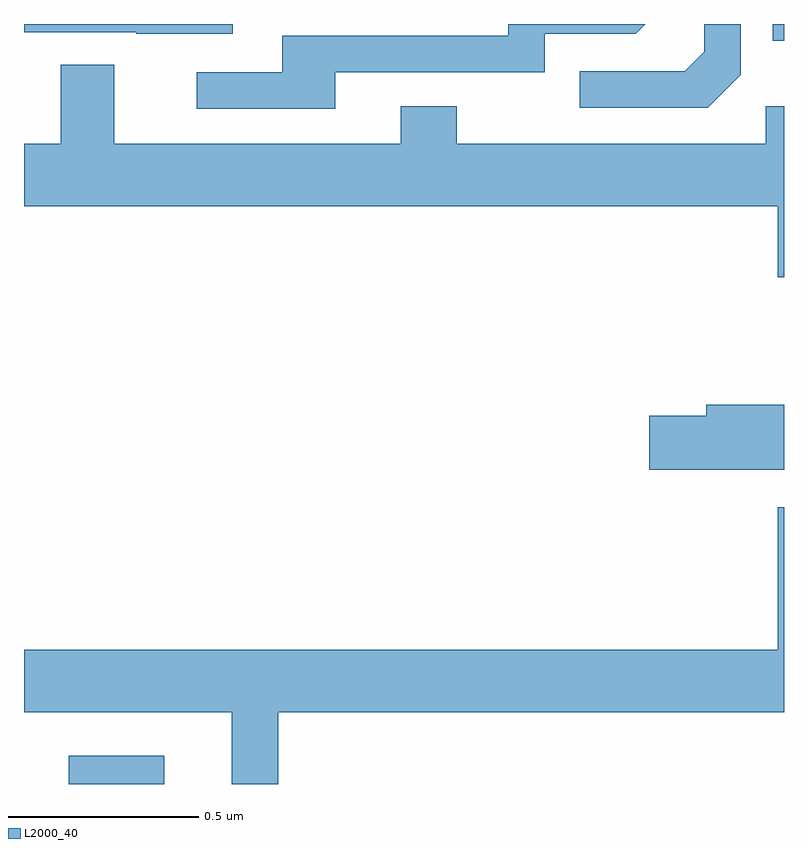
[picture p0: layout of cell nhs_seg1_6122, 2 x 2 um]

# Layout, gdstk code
import gdstk
lib = gdstk.Library(unit=1e-6, precision=1e-09)
def R(c, l, rs):  # rectangles x0, y0, x1, y1
    for r in rs: c.add(gdstk.rectangle(r[:2], r[2:], *l))
def P(c, l, *ps):  # polygons
    for p in ps: c.add(gdstk.Polygon(p, *l))
L2000_40 = (2000, 40)

nhs_seg1_6122 = lib.new_cell('nhs_seg1_6122')
R(nhs_seg1_6122, L2000_40, [(187.118,562.199,187.369,562.273), (188.971,564.155,189,564.199)])
P(nhs_seg1_6122, L2000_40, [(187.819,564.072),(188.37,564.072),(188.37,564.174),(188.61,564.174),(188.635,564.199),(188.274,564.199),(188.274,564.168),(187.679,564.168),(187.679,564.072),(187.455,564.072),(187.455,563.976),(187.819,563.976)],
  [(187.549,564.199),(187,564.199),(187,564.177),(187.295,564.177),(187.295,564.173),(187.549,564.173)],
  [(188.886,564.066),(188.886,564.199),(188.79,564.199),(188.79,564.126),(188.739,564.075),(188.463,564.075),(188.463,563.979),(188.799,563.979)],
  [(189,563.983),(188.952,563.983),(188.952,563.884),(188.139,563.884),(188.139,563.983),(187.991,563.983),(187.991,563.884),(187.237,563.884),(187.237,564.092),(187.097,564.092),(187.097,563.884),(187,563.884),(187,563.72),(188.984,563.72),(188.984,563.532),(189,563.532)],
  [(189,563.197),(188.795,563.197),(188.795,563.168),(188.646,563.168),(188.646,563.026),(189,563.026)],
  [(187.669,562.388),(189,562.388),(189,562.927),(188.984,562.927),(188.984,562.552),(187,562.552),(187,562.388),(187.547,562.388),(187.547,562.199),(187.669,562.199)])

lib.write_gds('nhs_seg1_6122.gds')
